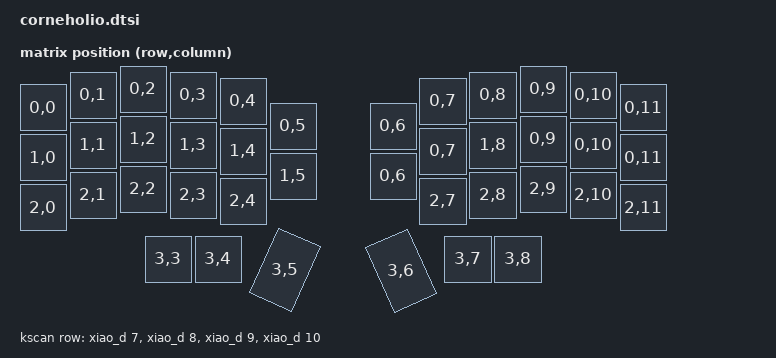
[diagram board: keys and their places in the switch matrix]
#include <dt-bindings/zmk/matrix_transform.h>
#include <physical_layouts.dtsi>

/ {
  chosen {
    zmk,physical-layout = &layout;
  };

  kscan: kscan {
    compatible  = "zmk,kscan-gpio-matrix";
    label = "default_kscan";
    diode-direction = "col2row";
    wakeup-source;

    row-gpios = <&xiao_d 7  (GPIO_ACTIVE_HIGH | GPIO_PULL_DOWN)>,
                <&xiao_d 8  (GPIO_ACTIVE_HIGH | GPIO_PULL_DOWN)>,
                <&xiao_d 9  (GPIO_ACTIVE_HIGH | GPIO_PULL_DOWN)>,
                <&xiao_d 10 (GPIO_ACTIVE_HIGH | GPIO_PULL_DOWN)>;
  };

  transform: transform {
    compatible = "zmk,matrix-transform";
    rows = <4>;
    columns = <12>;

    // | SW1  | SW2  | SW3  | SW4  | SW5  | SW6  |   | SW6  | SW5  | SW4  | SW3  | SW2  | SW1  |
    // | SW7  | SW8  | SW9  | SW10 | SW11 | SW12 |   | SW12 | SW11 | SW10 | SW9  | SW8  | SW7  |
    // | SW13 | SW14 | SW15 | SW16 | SW17 |                 | SW17 | SW16 | SW15 | SW14 | SW13 |
    //                      | SW18 | SW19 | SW20 |   | SW20 | SW19 | SW18 |

    map = <
        RC(0,0) RC(0,1) RC(0,2) RC(0,3) RC(0,4) RC(0,5)  RC(0,6) RC(0,7) RC(0,8) RC(0,9) RC(0,10) RC(0,11)
        RC(1,0) RC(1,1) RC(1,2) RC(1,3) RC(1,4) RC(1,5)  RC(0,6) RC(0,7) RC(1,8) RC(0,9) RC(0,10) RC(0,11)
        RC(2,0) RC(2,1) RC(2,2) RC(2,3) RC(2,4)                  RC(2,7) RC(2,8) RC(2,9) RC(2,10) RC(2,11)
                                RC(3,3) RC(3,4) RC(3,5)  RC(3,6) RC(3,7) RC(3,8)
    >;
  };

  layouts_position_map: layouts_position_map {
    compatible = "zmk,physical-layout-position-map";
    complete;
  };

  layout: layout {
        compatible = "zmk,physical-layout";
        display-name = "Split Ortho 6x4";

        kscan = <&kscan>;
        transform = <&transform>;

        keys  //                     w   h    x    y     rot    rx    ry
            = <&key_physical_attrs 100 100    0   37       0     0     0>
            , <&key_physical_attrs 100 100  100   12       0     0     0>
            , <&key_physical_attrs 100 100  200    0       0     0     0>
            , <&key_physical_attrs 100 100  300   12       0     0     0>
            , <&key_physical_attrs 100 100  400   24       0     0     0>
            , <&key_physical_attrs 100 100  500   74       0     0     0>
            , <&key_physical_attrs 100 100  700   74       0     0     0>
            , <&key_physical_attrs 100 100  800   24       0     0     0>
            , <&key_physical_attrs 100 100  900   12       0     0     0>
            , <&key_physical_attrs 100 100 1000    0       0     0     0>
            , <&key_physical_attrs 100 100 1100   12       0     0     0>
            , <&key_physical_attrs 100 100 1200   37       0     0     0>
            , <&key_physical_attrs 100 100    0  137       0     0     0>
            , <&key_physical_attrs 100 100  100  112       0     0     0>
            , <&key_physical_attrs 100 100  200  100       0     0     0>
            , <&key_physical_attrs 100 100  300  112       0     0     0>
            , <&key_physical_attrs 100 100  400  124       0     0     0>
            , <&key_physical_attrs 100 100  500  174       0     0     0>
            , <&key_physical_attrs 100 100  700  174       0     0     0>
            , <&key_physical_attrs 100 100  800  124       0     0     0>
            , <&key_physical_attrs 100 100  900  112       0     0     0>
            , <&key_physical_attrs 100 100 1000  100       0     0     0>
            , <&key_physical_attrs 100 100 1100  112       0     0     0>
            , <&key_physical_attrs 100 100 1200  137       0     0     0>
            , <&key_physical_attrs 100 100    0  237       0     0     0>
            , <&key_physical_attrs 100 100  100  212       0     0     0>
            , <&key_physical_attrs 100 100  200  200       0     0     0>
            , <&key_physical_attrs 100 100  300  212       0     0     0>
            , <&key_physical_attrs 100 100  400  224       0     0     0>
            , <&key_physical_attrs 100 100  800  224       0     0     0>
            , <&key_physical_attrs 100 100  900  212       0     0     0>
            , <&key_physical_attrs 100 100 1000  200       0     0     0>
            , <&key_physical_attrs 100 100 1100  212       0     0     0>
            , <&key_physical_attrs 100 100 1200  237       0     0     0>
            , <&key_physical_attrs 100 100  250  340       0     0     0>
            , <&key_physical_attrs 100 100  350  340       0     0     0>
            , <&key_physical_attrs 100 150  500  325    2400   515   370>
            , <&key_physical_attrs 100 150  700  325 (-2400)   790   370>
            , <&key_physical_attrs 100 100  850  340       0     0     0>
            , <&key_physical_attrs 100 100  950  340       0     0     0>
            ;
  };

};
